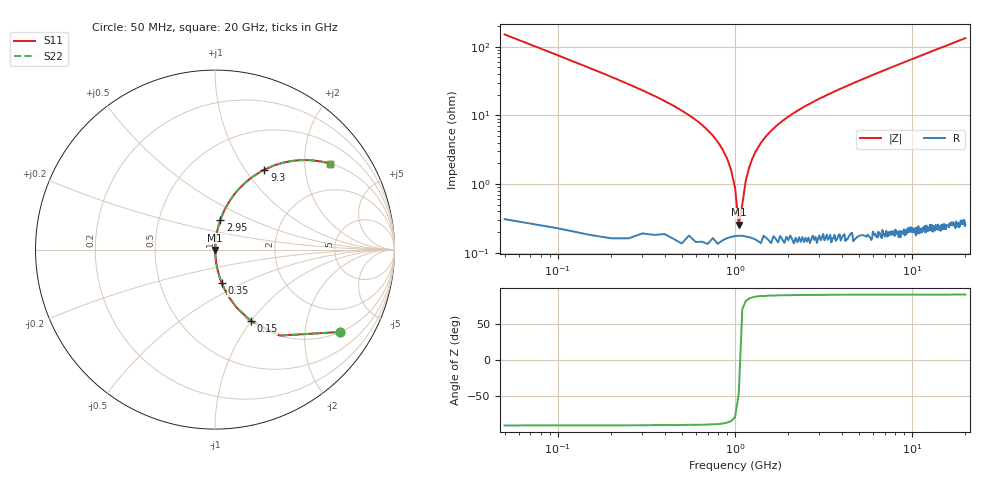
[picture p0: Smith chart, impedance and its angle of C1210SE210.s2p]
! AVX Thin Film Operation		Date: April 2012
! Description: Accu-P® Series, Thin Film, SMD, RF Capacitor
! Part Number: 12101J210FBTTR
!	50	MHz	-	20.05	GHz
!	Serial	Measurements
#	MHZ	S	MA	R	50
!	S11	S21	S12	S22
!	dB	Phase	dB	Phase	dB	Phase	dB	Phase
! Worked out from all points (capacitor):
!   400 points, 50 MHz to 20 GHz, reference 50 ohm
!   read as one part in series: C = 21 pF near 150 MHz
!   lowest |Z| = 256 mohm at 1.05 GHz (marker M1)
!   series resonance near 1.064 GHz, so ESL is about 1.1 nH
!   S11 on the Smith chart (normalised r, x): 50 MHz: 1.01, -3.02; 150 MHz: 1.00, -0.99; 350 MHz: 1.00, -0.39; 2.95 GHz: 1.00, +0.34; 9.3 GHz: 1.00, +1.23; 20 GHz: 1.00, +2.67
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50  0.833 -33.4  0.551 56.5  0.551 56.5  0.833 -33.4
100  0.6 -53.0  0.798 36.9  0.798 36.9  0.6 -53.0
150  0.443 -63.5  0.895 26.3  0.895 26.3  0.443 -63.5
350  0.189 -78.6  0.98 10.9  0.98 10.9  0.189 -78.6
750  0.051 -85.3  0.997 2.9  0.997 2.9  0.051 -85.3
900  0.024 -84.9  0.998 1.4  0.998 1.4  0.024 -84.9
1000  0.008924 -79.6  0.998 0.5  0.998 0.5  0.008924 -79.6
1050  0.002402 -50.0  0.998 0.1  0.998 0.1  0.002402 -50.0
1150  0.011 81.5  0.998 -0.6  0.998 -0.6  0.011 81.5
1200  0.017 83.9  0.998 -1.0  0.998 -1.0  0.017 83.9
1300  0.029 85.3  0.998 -1.6  0.998 -1.6  0.029 85.3
1450  0.045 85.5  0.997 -2.6  0.997 -2.6  0.045 85.5
1750  0.074 84.6  0.996 -4.2  0.996 -4.2  0.074 84.6
2050  0.1 83.4  0.993 -5.7  0.993 -5.7  0.1 83.4
2950  0.169 79.7  0.984 -9.7  0.984 -9.7  0.169 79.7
3400  0.201 77.9  0.978 -11.6  0.978 -11.6  0.201 77.9
6700  0.4 66.2  0.915 -23.6  0.915 -23.6  0.4 66.2
9300  0.523 58.3  0.851 -31.5  0.851 -31.5  0.523 58.3
10050  0.553 56.2  0.831 -33.6  0.831 -33.6  0.553 56.2
13350  0.663 48.3  0.747 -41.6  0.747 -41.6  0.663 48.3
16700  0.743 41.9  0.667 -48.0  0.667 -48.0  0.743 41.9
20000  0.8 36.8  0.599 -53.1  0.599 -53.1  0.8 36.8
